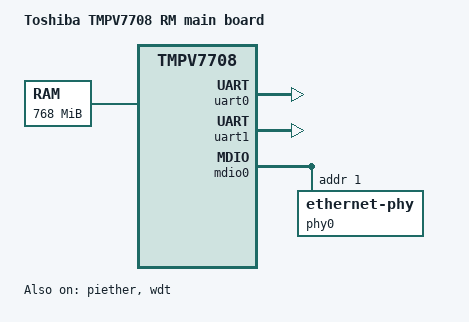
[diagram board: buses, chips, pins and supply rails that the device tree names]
/* bench 20809.0.0 8c35b7a9d878 */
/* bench 20809.0.1 f11ba82f4bdf */
/* bench 20809.0.2 534609fb3be1 */
/* bench 20809.0.3 29a5bc27b5ab */
/* bench 20809.0.4 1b1793d34ae7 */
/*
 * Device Tree File for TMPV7708 RM main board
 *
 * (C) Copyright 2020, Toshiba Corporation.
 * (C) Copyright 2020, Nobuhiro Iwamatsu <nobuhiro1.iwamatsu@toshiba.co.jp>
 */

/dts-v1/;

#include "tmpv7708.dtsi"

/ {
	model = "Toshiba TMPV7708 RM main board";
	compatible = "toshiba,tmpv7708-rm-mbrc", "toshiba,tmpv7708";

	aliases {
		serial0 = &uart0;
		serial1 = &uart1;
	};

	chosen {
		stdout-path = "serial0:115200n8";
	};

	/* 768MB memory */
	memory@80000000 {
		device_type = "memory";
		reg = <0x0 0x80000000 0x0 0x30000000>;
	};
};

/* bench 4528.0.0 8d00433ec90a */
/* bench 4528.0.1 b5455bd21c9c */
/* bench 4528.0.2 e1689a65c715 */
/* bench 4528.0.3 1093d988ebf4 */
/* bench 4528.0.4 7bb00469dfc6 */
/* bench 4528.0.5 7e8eebce0c5c */
&uart0 {
	status = "okay";
	clocks = <&uart_clk>;
	clock-names = "apb_pclk";
};

&uart1 {
	status = "okay";
	clocks = <&uart_clk>;
	clock-names = "apb_pclk";
};

&piether {
	status = "okay";
	phy-handle = <&phy0>;
	phy-mode = "rgmii-id";
	clocks = <&clk300mhz>, <&clk125mhz>;
	clock-names = "stmmaceth", "phy_ref_clk";

	mdio0 {
		#address-cells = <1>;
		#size-cells = <0>;
		compatible = "snps,dwmac-mdio";
		phy0: ethernet-phy@1 {
			device_type = "ethernet-phy";
			reg = <0x1>;
		};
	};
};

&wdt {
	status = "okay";
	clocks = <&wdt_clk>;
};

&gpio {
	status = "okay";
};
